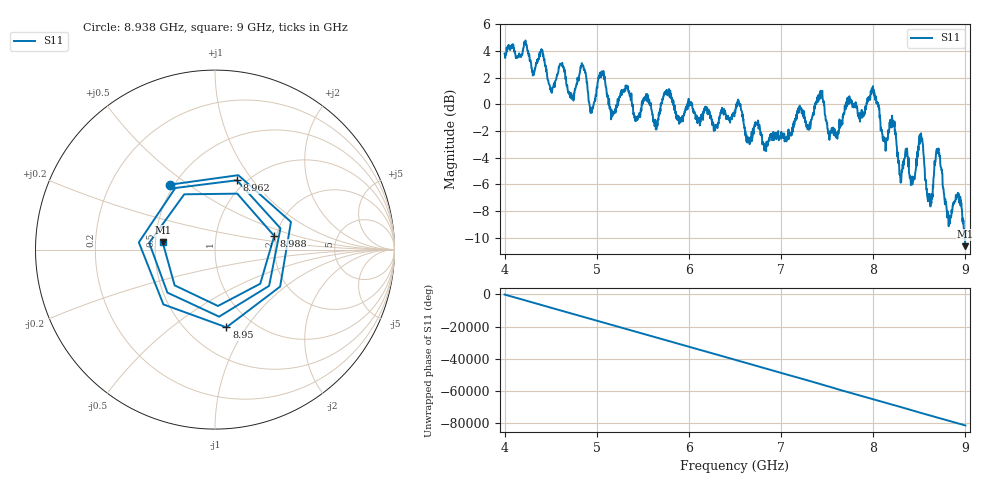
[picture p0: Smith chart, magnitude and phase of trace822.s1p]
! Created with skrf 1.8.0 (http://scikit-rf.org).
# Hz S RI R 50.0
!freq ReS11 ImS11
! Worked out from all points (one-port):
!   1601 points, 4 GHz to 9 GHz, reference 50 ohm
!   lowest |S11| = -10.6 dB at 9 GHz (marker M1), VSWR 1.83, Z = 27.4 + j2.39 ohm
!   |S11| at or under -10 dB: 8.990937 GHz to end of sweep
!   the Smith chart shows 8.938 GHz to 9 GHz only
!   S11 on the Smith chart (normalised r, x): 8.938 GHz: 0.47, +0.43; 8.95 GHz: 0.76, -0.81; 8.962 GHz: 0.91, +0.84; 8.988 GHz: 1.95, +0.33; 9 GHz: 0.55, +0.05
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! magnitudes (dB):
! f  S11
! 4 GHz  3.8
! 4.625 GHz  3.1
! 4.728 GHz  0.4
! 4.856 GHz  2.8
! 4.941 GHz  -0.3
! 5.05 GHz  2.4
! 5.162 GHz  -0.8
! 5.25 GHz  0.6
! 5.875 GHz  -0.9
! 6.5 GHz  -0.6
! 6.822 GHz  -3.0
! 7.125 GHz  -2.1
! 7.425 GHz  0.6
! 7.597 GHz  -2.1
! 7.75 GHz  0.4
! 8 GHz  0.9
! 8.112 GHz  -2.4
! 8.375 GHz  -3.9
! 8.431 GHz  -5.7
! 8.519 GHz  -2.2
! 8.606 GHz  -6.8
! 8.7 GHz  -3.5
! 8.819 GHz  -9.1
! 8.938 GHz  -7.1
! 8.95 GHz  -7.2
! 8.962 GHz  -7.9
! 8.988 GHz  -9.4
! 9 GHz  -10.6
